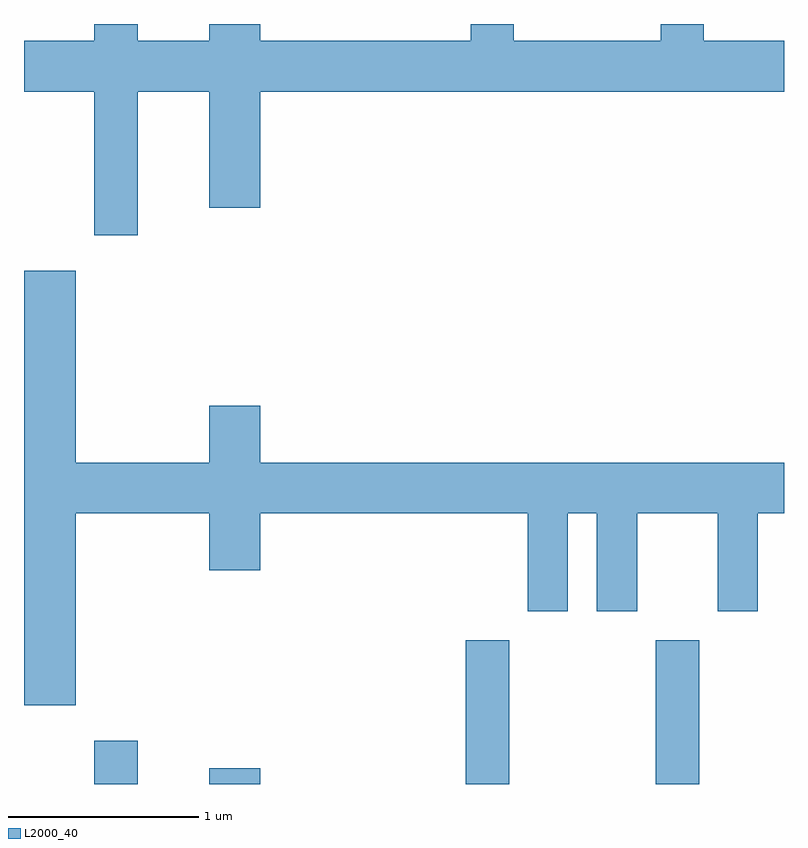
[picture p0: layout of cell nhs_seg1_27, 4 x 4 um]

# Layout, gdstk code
import gdstk
lib = gdstk.Library(unit=1e-6, precision=1e-09)
def R(c, l, rs):  # rectangles x0, y0, x1, y1
    for r in rs: c.add(gdstk.rectangle(r[:2], r[2:], *l))
def P(c, l, *ps):  # polygons
    for p in ps: c.add(gdstk.Polygon(p, *l))
L2000_40 = (2000, 40)

nhs_seg1_27 = lib.new_cell('nhs_seg1_27')
R(nhs_seg1_27, L2000_40, [(185.981,893.712,186.209,893.939), (186.586,893.712,186.854,893.794), (187.936,893.712,188.164,894.469), (188.936,893.712,189.164,894.469)])
P(nhs_seg1_27, L2000_40, [(186.209,897.356),(186.586,897.356),(186.586,896.746),(186.854,896.746),(186.854,897.356),(189.611,897.356),(189.611,897.624),(189.189,897.624),(189.189,897.712),(188.961,897.712),(188.961,897.624),(188.189,897.624),(188.189,897.712),(187.961,897.712),(187.961,897.624),(186.854,897.624),(186.854,897.712),(186.586,897.712),(186.586,897.624),(186.209,897.624),(186.209,897.712),(185.981,897.712),(185.981,897.624),(185.611,897.624),(185.611,897.356),(185.981,897.356),(185.981,896.601),(186.209,896.601)],
  [(185.884,895.136),(186.586,895.136),(186.586,894.836),(186.854,894.836),(186.854,895.136),(188.261,895.136),(188.261,894.621),(188.474,894.621),(188.474,895.136),(188.626,895.136),(188.626,894.621),(188.839,894.621),(188.839,895.136),(189.261,895.136),(189.261,894.621),(189.474,894.621),(189.474,895.136),(189.611,895.136),(189.611,895.404),(186.854,895.404),(186.854,895.704),(186.586,895.704),(186.586,895.404),(185.884,895.404),(185.884,896.414),(185.611,896.414),(185.611,894.126),(185.884,894.126)])

lib.write_gds('nhs_seg1_27.gds')
